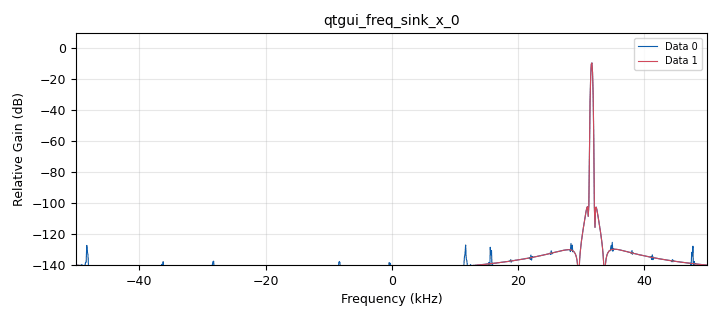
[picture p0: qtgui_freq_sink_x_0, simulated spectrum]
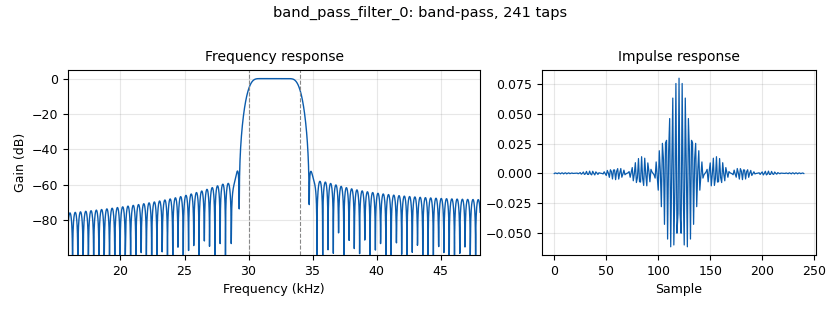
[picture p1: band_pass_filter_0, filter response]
options:
  parameters:
    generate_options: qt_gui
    id: complex_cosine_combination
    output_language: python
    title: Complex Cosine Combination
  states: {}

blocks:
- name: samp_rate
  id: variable
  parameters:
    value: 100e3
  states: {}
- name: analog_sig_source_x_0
  id: analog_sig_source_x
  parameters:
    amp: '1'
    freq: '3500'
    offset: '0'
    phase: '0'
    samp_rate: samp_rate
    type: complex
    waveform: analog.GR_COS_WAVE
  states: {}
- name: analog_sig_source_x_0_0
  id: analog_sig_source_x
  parameters:
    amp: '1'
    freq: 20e3
    offset: '0'
    phase: '0'
    samp_rate: samp_rate
    type: complex
    waveform: analog.GR_COS_WAVE
  states: {}
- name: analog_sig_source_x_0_0_0
  id: analog_sig_source_x
  parameters:
    amp: '1'
    freq: 8.2e3
    offset: '0'
    phase: '0'
    samp_rate: samp_rate
    type: complex
    waveform: analog.GR_COS_WAVE
  states: {}
- name: band_pass_filter_0
  id: band_pass_filter
  parameters:
    decim: '1'
    gain: '1'
    high_cutoff_freq: 34e3
    low_cutoff_freq: 30e3
    samp_rate: samp_rate
    type: fir_filter_ccf
    width: 1e3
    win: firdes.WIN_HAMMING
  states: {}
- name: blocks_add_xx_0
  id: blocks_add_xx
  parameters:
    num_inputs: '3'
    type: complex
  states: {state: disabled}
- name: blocks_multiply_xx_0
  id: blocks_multiply_xx
  parameters:
    num_inputs: '3'
    type: complex
  states: {}
- name: note_0
  id: note
  parameters:
    comment: |-
      If all cosine waves are summed together, the frequency spectrum shows spike at each of the cosine waves.
      If all cosine waves are multiplied together, the frequency spectrum is not as clean separation, see noise at some db below spectrum but there is a large spike at the sum of all the frequencies.

      Example:
      cos(A) + cos(B) + cos(C) = A, B, C spikes in frequency spectrum
      cos(A) * cos(B) * cos(C) = spike at A+B+C inside the frequency spectrum, but there is some noise in the spectrum. So filtering is needed in practice to suppress the noise.

      The GUI sinks display both I and Q samples even though cosine is I only, this is due to the fact  the fourier transform is a complex exponential so it encodes both cosine and sines.
      Displaying it shows both of the waves after the fourier transform, we can just display the real part in the time domain if we don't want to see the sine portion.
      The constellation diagram of cosine waves and their combinations is a unit circle.
      If sampling rate is not fast enough, get aliasing which can show up as negative frequencies in the FFT plot.

      Note:
      This is a complex cosine output, if this is a pure real cosine output, the behavior described above would change.
      The complex output of a cosine/sine wave is:
      cos(t) + i*sin(t)
      This means that complex output of cos/sine are the same.
  states: {}
- name: qtgui_freq_sink_x_0
  id: qtgui_freq_sink_x
  parameters:
    bw: samp_rate
    fc: '0'
    fftsize: '1024'
    nconnections: '2'
    type: complex
    wintype: firdes.WIN_BLACKMAN_hARRIS
  states: {}

connections:
- [analog_sig_source_x_0, '0', blocks_add_xx_0, '0']
- [analog_sig_source_x_0, '0', blocks_multiply_xx_0, '0']
- [analog_sig_source_x_0_0, '0', blocks_add_xx_0, '1']
- [analog_sig_source_x_0_0, '0', blocks_multiply_xx_0, '1']
- [analog_sig_source_x_0_0_0, '0', blocks_multiply_xx_0, '2']
- [band_pass_filter_0, '0', qtgui_freq_sink_x_0, '1']
- [blocks_multiply_xx_0, '0', band_pass_filter_0, '0']
- [blocks_multiply_xx_0, '0', qtgui_freq_sink_x_0, '0']

metadata:
  file_format: 1
